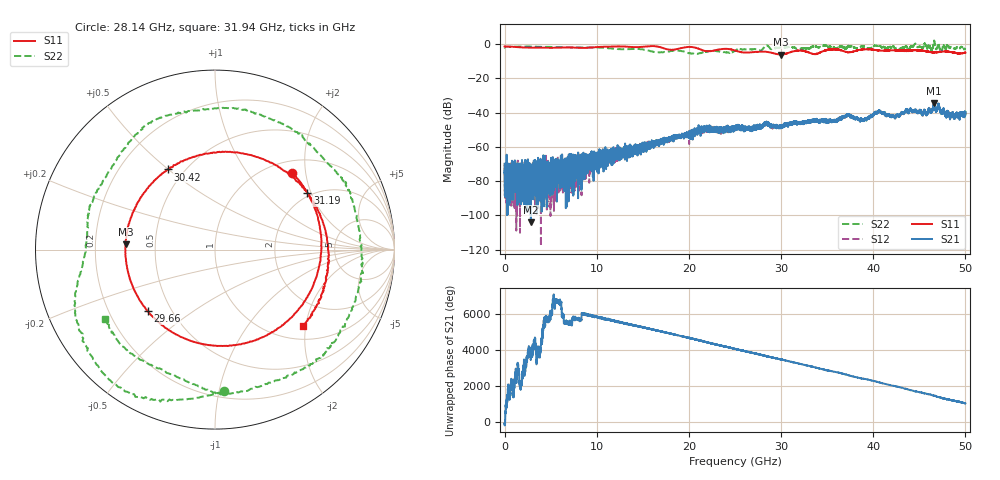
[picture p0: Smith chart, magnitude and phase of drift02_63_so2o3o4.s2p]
!Created with skrf (http://scikit-rf.org).
# Hz S RI R 50.0
!freq ReS11 ImS11 ReS21 ImS21 ReS12 ImS12 ReS22 ImS22
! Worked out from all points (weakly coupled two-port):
!   10001 points, 300 kHz to 50 GHz, reference 50 ohm
!   highest |S21| = -34.58 dB at 46.62 GHz (marker M1); lowest = -104.1 dB at 2.85 GHz (marker M2)
!   lowest |S11| = -6.0 dB at 30 GHz (marker M3), VSWR 2.99, Z = 16.7 + j1.36 ohm
!   |S11| at or under -10 dB: nowhere
!   |S22| runs from -5.7 to 2.2 dB; largest |S21 - S12| = 0.003
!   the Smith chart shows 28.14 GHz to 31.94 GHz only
!   S11 on the Smith chart (normalised r, x): 28.14 GHz: 1.24, +1.68; 29.66 GHz: 0.37, -0.34; 30.42 GHz: 0.41, +0.50; 31.19 GHz: 1.90, +1.88; 31.94 GHz: 1.31, -1.92
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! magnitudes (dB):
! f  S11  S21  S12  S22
! 300 kHz  -1.3  -69.9  -69.7  -2.0
! 510.3 MHz  -1.4  -78.3  -73.1  -1.5
! 2.85 GHz  -2.0  -104.1  -73.0  -1.4
! 4.835 GHz  -2.1  -85.9  -71.7  -1.6
! 8.335 GHz  -2.2  -65.2  -65.1  -1.9
! 16.67 GHz  -1.5  -57.7  -56.9  -4.7
! 21.6 GHz  -3.7  -49.4  -49.2  -4.7
! 25 GHz  -3.7  -49.9  -49.1  -3.9
! 28.14 GHz  -4.3  -46.9  -47.6  -2.0
! 29.66 GHz  -5.9  -48.7  -48.1  -2.1
! 30 GHz  -6.0  -48.3  -48.3  -2.0
! 30.42 GHz  -5.7  -48.1  -47.8  -1.8
! 31.19 GHz  -4.4  -45.6  -46.4  -1.7
! 31.94 GHz  -3.8  -45.5  -46.2  -2.8
! 33.34 GHz  -5.5  -45.0  -44.9  -1.6
! 37.3 GHz  -4.7  -41.2  -41.9  -1.5
! 38.9 GHz  -3.0  -44.6  -44.2  -1.5
! 40.59 GHz  -3.6  -39.3  -39.0  -1.0
! 41.67 GHz  -3.7  -41.4  -40.7  -1.9
! 46.62 GHz  -4.6  -34.6  -34.8  2.2
! 48.12 GHz  -4.4  -39.7  -40.1  -0.6
! 50 GHz  -4.9  -39.6  -40.6  -2.7
